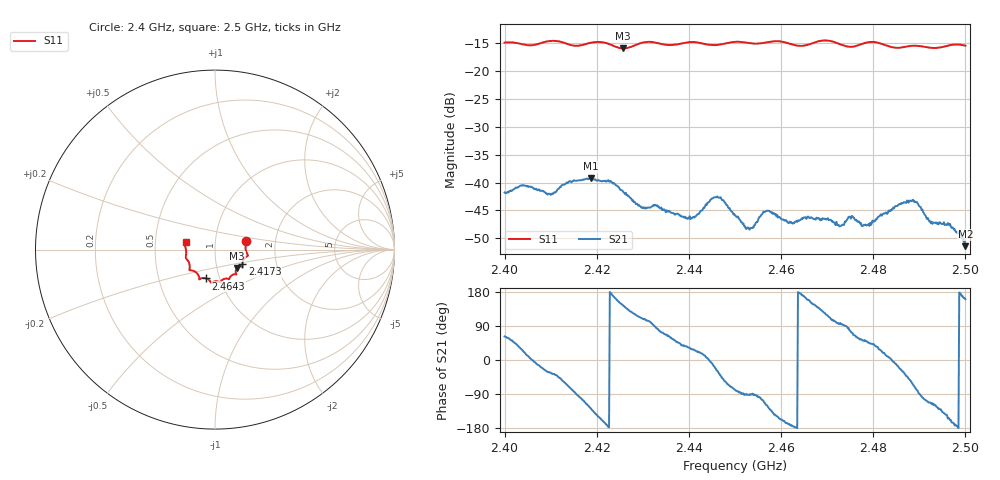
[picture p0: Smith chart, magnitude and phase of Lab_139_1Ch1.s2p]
# Hz S RI R 50
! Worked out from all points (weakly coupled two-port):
!   601 points, 2.4 GHz to 2.5 GHz, reference 50 ohm
!   highest |S21| = -39.22 dB at 2.4187 GHz (marker M1); lowest = -51.4 dB at 2.5 GHz (marker M2)
!   lowest |S11| = -15.9 dB at 2.4257 GHz (marker M3), VSWR 1.38, Z = 62.5 - j13.1 ohm
!   |S11| at or under -10 dB: start of sweep to end of sweep
!   S12 and S22 are empty: the file has one direction only
!   S11 on the Smith chart (normalised r, x): 2.4 GHz: 1.41, +0.14; 2.4173 GHz: 1.34, -0.23; 2.4643 GHz: 0.86, -0.29; 2.5 GHz: 0.72, +0.06
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2.4e9  0.1733 0.0491  0.00379 0.00721  0 0  0 0
2.404e9  0.1718 0.0252  0.00867 0.00385  0 0  0 0
2.41e9  0.1835 -0.0323  0.00647 -0.00427  0 0  0 0
2.416667e9  0.1533 -0.0747  -0.0022 -0.0103  0 0  0 0
2.417333e9  0.1526 -0.0823  -0.00374 -0.01  0 0  0 0
2.418667e9  0.153 -0.0935  -0.00661 -0.00872  0 0  0 0
2.425667e9  0.1227 -0.1019  -0.00682 0.00481  0 0  0 0
2.43e9  0.118 -0.1362  -0.00186 0.00557  0 0  0 0
2.433333e9  0.1132 -0.1371  0.000953 0.00596  0 0  0 0
2.440167e9  0.0794 -0.1636  0.00423 0.00263  0 0  0 0
2.446333e9  0.045 -0.1661  0.0063 -0.00381  0 0  0 0
2.45e9  0.0294 -0.1808  0.000991 -0.00496  0 0  0 0
2.452833e9  0.0184 -0.1779  -0.000112 -0.00395  0 0  0 0
2.457e9  -0.0133 -0.1809  -0.00283 -0.00479  0 0  0 0
2.464333e9  -0.0498 -0.1608  -0.00463 0.000426  0 0  0 0
2.466667e9  -0.0759 -0.1596  -0.00419 0.00241  0 0  0 0
2.478e9  -0.1348 -0.1158  0.00266 0.00322  0 0  0 0
2.483333e9  -0.1407 -0.0901  0.00556 0.000711  0 0  0 0
2.489e9  -0.1627 -0.0456  0.00223 -0.00642  0 0  0 0
2.4925e9  -0.1606 -0.02  -0.00174 -0.00394  0 0  0 0
2.496667e9  -0.1689 0.024  -0.00396 -0.00154  0 0  0 0
2.5e9  -0.1636 0.0419  -0.00253 0.000897  0 0  0 0
